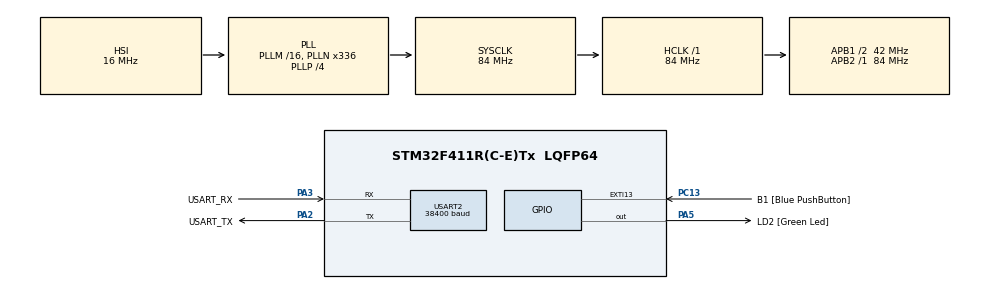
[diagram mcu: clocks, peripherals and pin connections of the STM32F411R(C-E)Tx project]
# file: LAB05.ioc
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Dma.Request0=USART2_TX
Dma.USART2_TX.0.Direction=DMA_MEMORY_TO_PERIPH
Dma.USART2_TX.0.FIFOMode=DMA_FIFOMODE_DISABLE
Dma.USART2_TX.0.Instance=DMA1_Stream6
Dma.USART2_TX.0.MemDataAlignment=DMA_MDATAALIGN_BYTE
Dma.USART2_TX.0.MemInc=DMA_MINC_ENABLE
Dma.USART2_TX.0.Mode=DMA_NORMAL
Dma.USART2_TX.0.PeriphDataAlignment=DMA_PDATAALIGN_BYTE
Dma.USART2_TX.0.PeriphInc=DMA_PINC_DISABLE
Dma.USART2_TX.0.Priority=DMA_PRIORITY_LOW
Mcu.Family=STM32F4
Mcu.Name=STM32F411R(C-E)Tx
Mcu.Package=LQFP64
NVIC.DMA1_Stream6_IRQn=true\:0\:0\:false\:false\:true\:false\:true\:true
NVIC.PriorityGroup=NVIC_PRIORITYGROUP_0
NVIC.USART2_IRQn=true\:0\:0\:false\:false\:true\:true\:true\:true
PA13.GPIO_Label=TMS
PA13.Mode=Serial_Wire
PA13.Signal=SYS_JTMS-SWDIO
PA14.GPIO_Label=TCK
PA14.Mode=Serial_Wire
PA14.Signal=SYS_JTCK-SWCLK
PA2.GPIO_Label=USART_TX
PA2.Mode=Asynchronous
PA2.Signal=USART2_TX
PA3.GPIO_Label=USART_RX
PA3.Mode=Asynchronous
PA3.Signal=USART2_RX
PA5.GPIO_Label=LD2 [Green Led]
PA5.Signal=GPIO_Output
PB3.GPIO_Label=SWO
PB3.Signal=SYS_JTDO-SWO
PC13-ANTI_TAMP.GPIO_Label=B1 [Blue PushButton]
PC13-ANTI_TAMP.GPIO_ModeDefaultEXTI=GPIO_MODE_IT_FALLING
PC13-ANTI_TAMP.Signal=GPXTI13
PC14-OSC32_IN.Mode=LSE-External-Oscillator
PC14-OSC32_IN.Signal=RCC_OSC32_IN
PC15-OSC32_OUT.Mode=LSE-External-Oscillator
PC15-OSC32_OUT.Signal=RCC_OSC32_OUT
PH0\ -\ OSC_IN.Mode=HSE-External-Clock-Source
PH0\ -\ OSC_IN.Signal=RCC_OSC_IN
PH1\ -\ OSC_OUT.Mode=HSE-External-Clock-Source
PH1\ -\ OSC_OUT.Signal=RCC_OSC_OUT
ProjectManager.HeapSize=0x200
ProjectManager.StackSize=0x400
ProjectManager.TargetToolchain=STM32CubeIDE
RCC.48MHZClocksFreq_Value=84000000
RCC.AHBFreq_Value=84000000
RCC.APB1CLKDivider=RCC_HCLK_DIV2
RCC.APB1Freq_Value=42000000
RCC.APB1TimFreq_Value=84000000
RCC.APB2Freq_Value=84000000
RCC.APB2TimFreq_Value=84000000
RCC.CortexFreq_Value=84000000
RCC.FLatency-AdvancedSettings=FLASH_LATENCY_2
RCC.HCLKFreq_Value=84000000
RCC.HSE_VALUE=8000000
RCC.HSI_VALUE=16000000
RCC.PLLN=336
RCC.PLLP=RCC_PLLP_DIV4
RCC.SYSCLKFreq_VALUE=84000000
RCC.SYSCLKSource=RCC_SYSCLKSOURCE_PLLCLK
RCC.VCOOutputFreq_Value=336000000
USART2.BaudRate=38400
USART2.VirtualMode=VM_ASYNC
board=NUCLEO-F411RE

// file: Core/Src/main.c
/* USER CODE BEGIN Header */
/**
  ******************************************************************************
  * @file           : main.c
  * @brief          : Main program body
  ******************************************************************************
  * @attention
  *
  * Copyright (c) 2023 STMicroelectronics.
  * All rights reserved.
  *
  * This software is licensed under terms that can be found in the LICENSE file
  * in the root directory of this software component.
  * If no LICENSE file comes with this software, it is provided AS-IS.
  *
  ******************************************************************************
  */
/* USER CODE END Header */
#include "main.h"

/* USER CODE BEGIN Includes */
#include "stdio.h"
#include "string.h"
/* USER CODE END Includes */

UART_HandleTypeDef huart2;
DMA_HandleTypeDef hdma_usart2_tx;

/* USER CODE BEGIN PV */
uint8_t RxBuffer[1];
uint8_t TxBuffer[200];
uint32_t Hz = 1000;
uint32_t n = 1;
int mode = 0;
int LED_last = 1;
int Button_state = 0;
int Button_flag = 0;

/* USER CODE END PV */

void SystemClock_Config(void);
static void MX_GPIO_Init(void);
static void MX_DMA_Init(void);
static void MX_USART2_UART_Init(void);
/* USER CODE BEGIN PFP */
void UARTInterruptConfig();
/* USER CODE END PFP */

int main(void)
{

  /* MCU Configuration--------------------------------------------------------*/

  /* Reset of all peripherals, Initializes the Flash interface and the Systick. */
  HAL_Init();

  /* Configure the system clock */
  SystemClock_Config();

  /* Initialize all configured peripherals */
  MX_GPIO_Init();
  MX_DMA_Init();
  MX_USART2_UART_Init();
  /* USER CODE BEGIN 2 */

  sprintf((char*)TxBuffer,"\r\n----------------------\r\n Menu 1\r\n a: Speed Up +1Hz\r\n s: Speed Down -1Hz\r\n d: On/Off\r\n x: Back \r\n----------------------\r\n");
  HAL_UART_Transmit_IT(&huart2, TxBuffer, strlen((char*)TxBuffer));

  UARTInterruptConfig();

  /* USER CODE END 2 */

  /* Infinite loop */
  while (1)
  {

    /* USER CODE BEGIN 3 */
	  if (mode == 0)
	  {
		  static uint32_t timestamp = 1000;
		  if (HAL_GetTick() > timestamp)
		  {
			  HAL_GPIO_TogglePin(GPIOA, GPIO_PIN_5);
			  timestamp = HAL_GetTick() + (Hz/n);
		  }
	  }
	  if (mode == 2)
	  {
		  switch(Button_state)
		  {
		  case 0:
			  if (HAL_GPIO_ReadPin(GPIOC, GPIO_PIN_13) == 1)
			  {
				  sprintf((char*)TxBuffer,"\r\n----------------------\r\n Menu 2\r\n x: Back \r\n----------------------\r\n Button Status: Unpressed \r\n----------------------\r\n\r\n");
				  HAL_UART_Transmit_IT(&huart2, TxBuffer, strlen((char*)TxBuffer));
				  Button_state = 1;
			  }
			  break;
		  case 1:
			  if (HAL_GPIO_ReadPin(GPIOC, GPIO_PIN_13) == 0)
			  {
				  Button_flag = 1;
				  if (Button_flag == 1)
				  {
					  sprintf((char*)TxBuffer,"\r\n----------------------\r\n Menu 2\r\n x: Back \r\n----------------------\r\n Button Status: Pressed \r\n----------------------\r\n\r\n");
					  HAL_UART_Transmit_IT(&huart2, TxBuffer, strlen((char*)TxBuffer));
					  Button_flag = 0;
					  Button_state = 0;
				  }
			  }
			  break;
		  }
	  }
  }
  /* USER CODE END 3 */
}

void SystemClock_Config(void)
{
  RCC_OscInitTypeDef RCC_OscInitStruct = {0};
  RCC_ClkInitTypeDef RCC_ClkInitStruct = {0};

  /** Configure the main internal regulator output voltage
  */
  __HAL_RCC_PWR_CLK_ENABLE();
  __HAL_PWR_VOLTAGESCALING_CONFIG(PWR_REGULATOR_VOLTAGE_SCALE1);

  /** Initializes the RCC Oscillators according to the specified parameters
  * in the RCC_OscInitTypeDef structure.
  */
  RCC_OscInitStruct.OscillatorType = RCC_OSCILLATORTYPE_HSI;
  RCC_OscInitStruct.HSIState = RCC_HSI_ON;
  RCC_OscInitStruct.HSICalibrationValue = RCC_HSICALIBRATION_DEFAULT;
  RCC_OscInitStruct.PLL.PLLState = RCC_PLL_ON;
  RCC_OscInitStruct.PLL.PLLSource = RCC_PLLSOURCE_HSI;
  RCC_OscInitStruct.PLL.PLLM = 16;
  RCC_OscInitStruct.PLL.PLLN = 336;
  RCC_OscInitStruct.PLL.PLLP = RCC_PLLP_DIV4;
  RCC_OscInitStruct.PLL.PLLQ = 4;
  if (HAL_RCC_OscConfig(&RCC_OscInitStruct) != HAL_OK)
  {
    Error_Handler();
  }

  /** Initializes the CPU, AHB and APB buses clocks
  */
  RCC_ClkInitStruct.ClockType = RCC_CLOCKTYPE_HCLK|RCC_CLOCKTYPE_SYSCLK
                              |RCC_CLOCKTYPE_PCLK1|RCC_CLOCKTYPE_PCLK2;
  RCC_ClkInitStruct.SYSCLKSource = RCC_SYSCLKSOURCE_PLLCLK;
  RCC_ClkInitStruct.AHBCLKDivider = RCC_SYSCLK_DIV1;
  RCC_ClkInitStruct.APB1CLKDivider = RCC_HCLK_DIV2;
  RCC_ClkInitStruct.APB2CLKDivider = RCC_HCLK_DIV1;

  if (HAL_RCC_ClockConfig(&RCC_ClkInitStruct, FLASH_LATENCY_2) != HAL_OK)
  {
    Error_Handler();
  }
}

static void MX_USART2_UART_Init(void)
{

  huart2.Instance = USART2;
  huart2.Init.BaudRate = 38400;
  huart2.Init.WordLength = UART_WORDLENGTH_8B;
  huart2.Init.StopBits = UART_STOPBITS_1;
  huart2.Init.Parity = UART_PARITY_NONE;
  huart2.Init.Mode = UART_MODE_TX_RX;
  huart2.Init.HwFlowCtl = UART_HWCONTROL_NONE;
  huart2.Init.OverSampling = UART_OVERSAMPLING_16;
  if (HAL_UART_Init(&huart2) != HAL_OK)
  {
    Error_Handler();
  }

}

static void MX_DMA_Init(void)
{

  /* DMA controller clock enable */
  __HAL_RCC_DMA1_CLK_ENABLE();

  /* DMA interrupt init */
  /* DMA1_Stream6_IRQn interrupt configuration */
  HAL_NVIC_SetPriority(DMA1_Stream6_IRQn, 0, 0);
  HAL_NVIC_EnableIRQ(DMA1_Stream6_IRQn);

}

static void MX_GPIO_Init(void)
{
  GPIO_InitTypeDef GPIO_InitStruct = {0};

  /* GPIO Ports Clock Enable */
  __HAL_RCC_GPIOC_CLK_ENABLE();
  __HAL_RCC_GPIOH_CLK_ENABLE();
  __HAL_RCC_GPIOA_CLK_ENABLE();
  __HAL_RCC_GPIOB_CLK_ENABLE();

  /*Configure GPIO pin Output Level */
  HAL_GPIO_WritePin(LD2_GPIO_Port, LD2_Pin, GPIO_PIN_RESET);

  /*Configure GPIO pin : B1_Pin */
  GPIO_InitStruct.Pin = B1_Pin;
  GPIO_InitStruct.Mode = GPIO_MODE_IT_FALLING;
  GPIO_InitStruct.Pull = GPIO_NOPULL;
  HAL_GPIO_Init(B1_GPIO_Port, &GPIO_InitStruct);

  /*Configure GPIO pin : LD2_Pin */
  GPIO_InitStruct.Pin = LD2_Pin;
  GPIO_InitStruct.Mode = GPIO_MODE_OUTPUT_PP;
  GPIO_InitStruct.Pull = GPIO_NOPULL;
  GPIO_InitStruct.Speed = GPIO_SPEED_FREQ_LOW;
  HAL_GPIO_Init(LD2_GPIO_Port, &GPIO_InitStruct);

}

/* USER CODE BEGIN 4 */
void UARTInterruptConfig()
{
	//start UART in Interrupt Mode
	HAL_UART_Receive_IT(&huart2, RxBuffer, 1);
}

void HAL_UART_RxCpltCallback(UART_HandleTypeDef *huart)
{
	if(huart == &huart2)
	{
		//(for string only) Add string stop symbol \0 to end string
		RxBuffer[1] = '\0';

		//state machine
		static int state = 0;
		switch(state)
		{
		case 0:
			if (RxBuffer[0] == 'a')
			{
				mode = 0;
				n += 1;
				sprintf((char*)TxBuffer,"\r\n----------------------\r\n Menu 1\r\n a: Speed Up +1Hz\r\n s: Speed Down -1Hz\r\n d: On/Off\r\n x: Back \r\n----------------------\r\n %s: Speed Up +1Hz \r\n----------------------\r\n\r\n",RxBuffer);
				HAL_UART_Transmit_IT(&huart2, TxBuffer, strlen((char*)TxBuffer));
			}
			else if (RxBuffer[0] == 's' && n > 1)
			{
				mode = 0;
				n -= 1;
				sprintf((char*)TxBuffer,"\r\n----------------------\r\n Menu 1\r\n a: Speed Up +1Hz\r\n s: Speed Down -1Hz\r\n d: On/Off\r\n x: Back \r\n----------------------\r\n %s: Speed Down -1Hz \r\n----------------------\r\n\r\n",RxBuffer);
				HAL_UART_Transmit_IT(&huart2, TxBuffer, strlen((char*)TxBuffer));
			}
			else if (RxBuffer[0] == 's' && n == 1)
			{
				mode = 0;
				sprintf((char*)TxBuffer,"\r\n----------------------\r\n Menu 1\r\n a: Speed Up +1Hz\r\n s: Speed Down -1Hz\r\n d: On/Off\r\n x: Back \r\n----------------------\r\n Reach Minimum Speed \r\n----------------------\r\n\r\n");
				HAL_UART_Transmit_IT(&huart2, TxBuffer, strlen((char*)TxBuffer));
			}
			else if (RxBuffer[0] == 'd')
			{
				mode = 1;
				if (LED_last == 0)
				{
//					HAL_GPIO_WritePin(GPIOA, GPIO_PIN_5, 1);
					sprintf((char*)TxBuffer,"\r\n----------------------\r\n Menu 1\r\n a: Speed Up +1Hz\r\n s: Speed Down -1Hz\r\n d: On/Off\r\n x: Back \r\n----------------------\r\n %s: On \r\n----------------------\r\n\r\n",RxBuffer);
					HAL_UART_Transmit_IT(&huart2, TxBuffer, strlen((char*)TxBuffer));
					LED_last = 1;
					mode = 0;
				}
				else if (LED_last == 1)
				{
					HAL_GPIO_WritePin(GPIOA, GPIO_PIN_5, 0);
					sprintf((char*)TxBuffer,"\r\n----------------------\r\n Menu 1\r\n a: Speed Up +1Hz\r\n s: Speed Down -1Hz\r\n d: On/Off\r\n x: Back \r\n----------------------\r\n %s: Off \r\n----------------------\r\n\r\n",RxBuffer);
					HAL_UART_Transmit_IT(&huart2, TxBuffer, strlen((char*)TxBuffer));
					LED_last = 0;
				}
			}
			else if (RxBuffer[0] == 'x')
			{
				sprintf((char*)TxBuffer,"\r\n----------------------\r\n Menu 2\r\n x: Back \r\n----------------------\r\n Button Status: Unpressed \r\n----------------------\r\n\r\n");
				HAL_UART_Transmit_IT(&huart2, TxBuffer, strlen((char*)TxBuffer));
				mode = 2;
				state = 1;
			}
			else
			{
				sprintf((char*)TxBuffer,"\r\n----------------------\r\n Menu 1\r\n a: Speed Up +1Hz\r\n s: Speed Down -1Hz\r\n d: On/Off\r\n x: Back \r\n----------------------\r\n ERROR \r\n----------------------\r\n\r\n");
				HAL_UART_Transmit_IT(&huart2, TxBuffer, strlen((char*)TxBuffer));
			}
			break;

		case 1:
			if (RxBuffer[0] == 'x')
			{
				sprintf((char*)TxBuffer,"\r\n----------------------\r\n Menu 1\r\n a: Speed Up +1Hz\r\n s: Speed Down -1Hz\r\n d: On/Off\r\n x: Back \r\n----------------------\r\n");
				HAL_UART_Transmit_IT(&huart2, TxBuffer, strlen((char*)TxBuffer));
				if (LED_last == 0)
				{
					mode = 1;
					state = 0;
				}
				else if (LED_last == 1)
				{
					mode = 0;
					state = 0;
				}
			}
			else
			{
				sprintf((char*)TxBuffer,"\r\n----------------------\r\n Menu 2\r\n x: Back \r\n----------------------\r\n ERROR \r\n----------------------\r\n\r\n");
				HAL_UART_Transmit_IT(&huart2, TxBuffer, strlen((char*)TxBuffer));
			}
			break;
		}

		//recall Receive
		HAL_UART_Receive_IT(&huart2, RxBuffer, 1);
	}
}
/* USER CODE END 4 */

void Error_Handler(void)
{
  __disable_irq();
  while (1)
  {
  }
}
